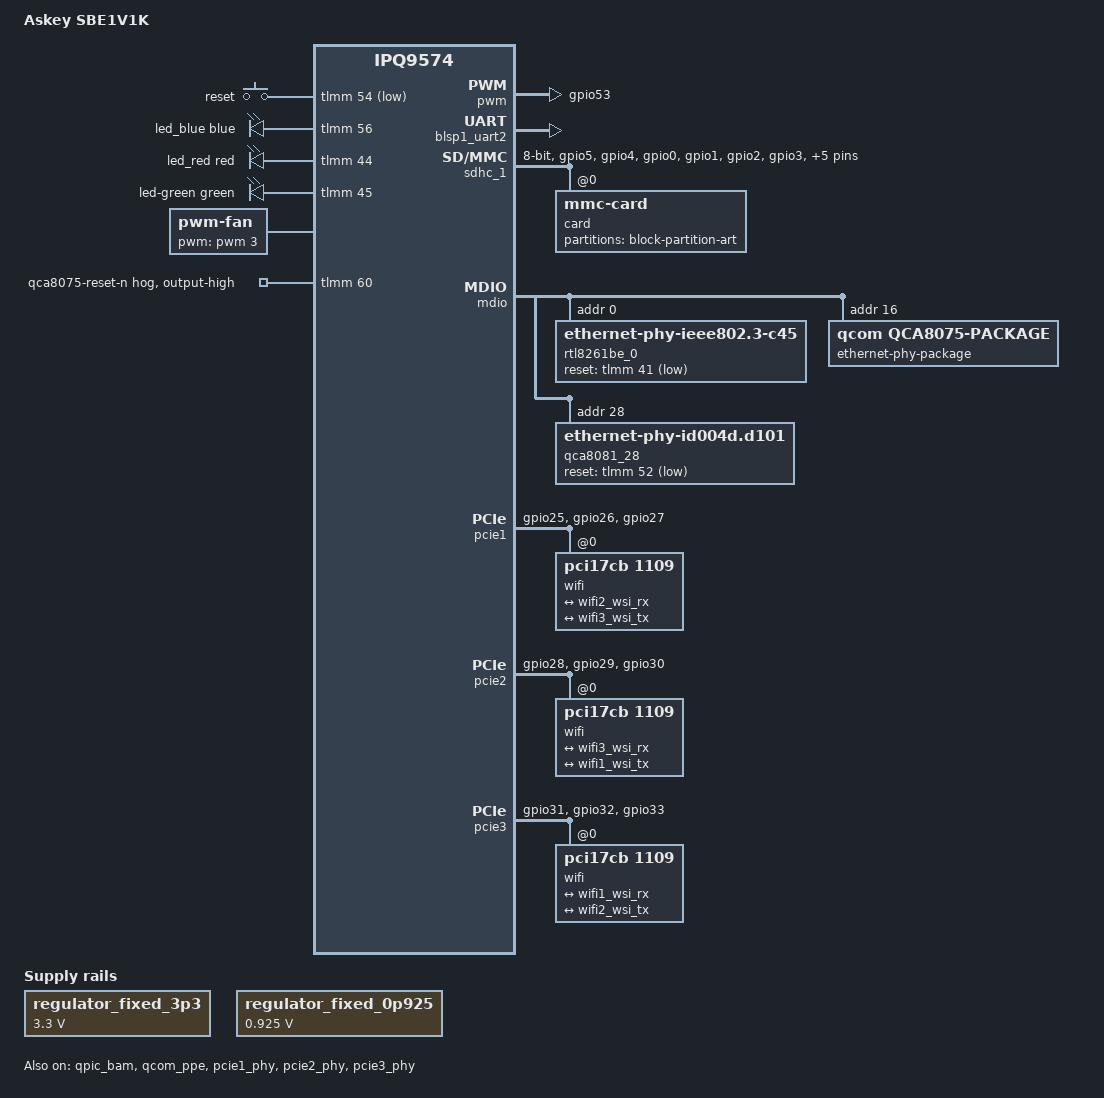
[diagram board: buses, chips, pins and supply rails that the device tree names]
// SPDX-License-Identifier: (GPL-2.0+ OR BSD-3-Clause)

/dts-v1/;

#include "ipq9574.dtsi"

#include <dt-bindings/gpio/gpio.h>
#include <dt-bindings/input/input.h>
#include <dt-bindings/leds/common.h>

/ {
	model = "Askey SBE1V1K";
	compatible = "askey,sbe1v1k", "qcom,ipq9574";

	aliases {
		led-boot = &led_blue;
		led-failsafe = &led_red;
		led-running = &led_blue;
		led-upgrade = &led_blue;

		serial0 = &blsp1_uart2;
	};

	chosen {
		stdout-path = "serial0:115200n8";
	};

	reserved-memory {
		tzapp:tzapp@49B00000 {
			no-map;
			reg = <0x0 0x49B00000 0x0 0x00600000>;
		};
	};

	regulator_fixed_3p3: s3300 {
		compatible = "regulator-fixed";
		regulator-min-microvolt = <3300000>;
		regulator-max-microvolt = <3300000>;
		regulator-boot-on;
		regulator-always-on;
		regulator-name = "fixed_3p3";
	};

	regulator_fixed_0p925: s0925 {
		compatible = "regulator-fixed";
		regulator-min-microvolt = <925000>;
		regulator-max-microvolt = <925000>;
		regulator-boot-on;
		regulator-always-on;
		regulator-name = "fixed_0p925";
	};

	gpio-keys {
		compatible = "gpio-keys";
		pinctrl-0 = <&gpio_keys_default>;
		pinctrl-names = "default";

		reset {
			label = "reset";
			linux,code = <KEY_RESTART>;
			gpios = <&tlmm 54 GPIO_ACTIVE_LOW>;
			debounce-interval = <60>;
		};
	};

	leds {
		compatible = "gpio-leds";

		led_blue: led-blue {
			color = <LED_COLOR_ID_BLUE>;
			function = LED_FUNCTION_STATUS;
			gpios = <&tlmm 56 GPIO_ACTIVE_HIGH>;
		};

		led_red: led-red {
			color = <LED_COLOR_ID_RED>;
			function = LED_FUNCTION_STATUS;
			gpios = <&tlmm 44 GPIO_ACTIVE_HIGH>;
		};

		led-green {
			color = <LED_COLOR_ID_GREEN>;
			function = LED_FUNCTION_STATUS;
			gpios = <&tlmm 45 GPIO_ACTIVE_HIGH>;
		};
	};

	fan: pwm-fan {
		compatible = "pwm-fan";
		pwms = <&pwm 3 40000 0>;
		#cooling-cells = <2>;
		cooling-levels = <36 72 128 255>;
	};

	thermal-zones {
		top-glue-thermal {
			thermal-sensors = <&tsens 15>;

			trips {
				cpu_trip_crit: crit {
					temperature = <110000>;
					hysteresis = <1000>;
					type = "critical";
				};

				cpu_trip_hot: hot {
					temperature = <100000>;
					hysteresis = <1000>;
					type = "hot";
				};

				cpu_trip_active_high: active-high {
					temperature = <80000>;
					hysteresis = <1000>;
					type = "active";
				};

				cpu_trip_active_med: active-med {
					temperature = <65000>;
					hysteresis = <1000>;
					type = "active";
				};

				cpu_trip_active_low: active-low {
					temperature = <50000>;
					hysteresis = <1000>;
					type = "active";
				};

				cpu_trip_active_silent: active-silent {
					temperature = <40000>;
					hysteresis = <1000>;
					type = "active";
				};
			};

			cooling-maps {
				cpu-active-high {
					cooling-device = <&fan 3 3>;
					trip = <&cpu_trip_active_high>;
				};

				cpu-active-med {
					cooling-device = <&fan 2 2>;
					trip = <&cpu_trip_active_med>;
				};

				cpu-active-low {
					cooling-device = <&fan 1 1>;
					trip = <&cpu_trip_active_low>;
				};

				cpu-active-silent {
					cooling-device = <&fan 0 0>;
					trip = <&cpu_trip_active_silent>;
				};
			};
		};
	};
};

&pwm {
	pinctrl-0 = <&pwm_pins>;
	pinctrl-names = "default";
	status = "okay";
};

&blsp1_uart2 {
	pinctrl-0 = <&uart2_pins>;
	pinctrl-names = "default";
	status = "okay";
};

&rpm_requests {
	regulators {
		compatible = "qcom,rpm-mp5496-regulators";

		ipq9574_s1: s1 {
		/*
		* During kernel bootup, the SoC runs at 800MHz with 875mV set by the bootloaders.
		* During regulator registration, kernel not knowing the initial voltage,
		* considers it as zero and brings up the regulators with minimum supported voltage.
		* Update the regulator-min-microvolt with SVS voltage of 725mV so that
		* the regulators are brought up with 725mV which is sufficient for all the
		* corner parts to operate at 800MHz
		*/
			regulator-min-microvolt = <725000>;
			regulator-max-microvolt = <1075000>;
		};

		mp5496_l5: l5 {
			regulator-min-microvolt = <1800000>;
			regulator-max-microvolt = <1800000>;
			regulator-always-on;
			regulator-boot-on;
		};
	};
};

&sdhc_1 {
	bus-width = <8>;
	max-frequency = <384000000>;
	mmc-ddr-1_8v;
	mmc-hs200-1_8v;
	mmc-hs400-1_8v;
	mmc-hs400-enhanced-strobe;
	pinctrl-0 = <&sdc_default_state>;
	pinctrl-names = "default";
	status = "okay";

	card@0 {
		compatible = "mmc-card";
		reg = <0>;

		block {
			compatible = "block-device";

			partitions {
				block-partition-art {
					partname = "0:ART";

					nvmem-layout {
						compatible = "fixed-layout";
						#address-cells = <1>;
						#size-cells = <1>;

						ethaddr: ethaddr@0 {
							compatible = "mac-base";
							reg = <0x0 0x6>;
							#nvmem-cell-cells = <1>;
						};
					};
				};
			};
		};
	};
};

&sleep_clk {
	clock-frequency = <32000>;
};

&tlmm {
	/*
	 * GPIO 60 is the shared hardware reset for the QCA8075 package, and the
	 * board holds it asserted (low) at power-on. reset-gpios is NOT honored
	 * on the package container node nor on the ethernet-phy@N nodes inside
	 * it (only standalone PHY nodes get MDIO reset handling), so drive it
	 * here as a gpio-hog. The hog is applied when the tlmm gpiochip
	 * registers (very early), releasing the package well before the MDIO
	 * bus is scanned; otherwise PHYs 18/19 read as "missing" and PPE port 3
	 * fails to connect (-ENODEV), wedging the whole ethernet driver.
	 */
	qca8075_reset_hog {
		gpio-hog;
		gpios = <60 GPIO_ACTIVE_HIGH>;
		output-high;
		line-name = "qca8075-reset-n";
	};

	gpio_keys_default: gpio-keys-default-state {
		pins = "gpio54";
		function = "gpio";
		drive-strength = <8>;
		bias-pull-up;
	};

	sdc_default_state: sdc-default-state {
		clk-pins {
			pins = "gpio5";
			function = "sdc_clk";
			drive-strength = <8>;
			bias-disable;
		};

		cmd-pins {
			pins = "gpio4";
			function = "sdc_cmd";
			drive-strength = <8>;
			bias-pull-up;
		};

		data-pins {
			pins = "gpio0", "gpio1", "gpio2",
				"gpio3", "gpio6", "gpio7",
				"gpio8", "gpio9";
			function = "sdc_data";
			drive-strength = <8>;
			bias-pull-up;
		};

		rclk-pins {
			pins = "gpio10";
			function = "sdc_rclk";
			drive-strength = <8>;
			bias-pull-down;
		};
	};

	pcie1_default: pcie1-default-state {
		clkreq-n-pins {
			pins = "gpio25";
			function = "pcie1_clk";
			drive-strength = <6>;
			bias-pull-up;
		};

		perst-n-pins {
			pins = "gpio26";
			function = "gpio";
			drive-strength = <8>;
			bias-pull-down;
			output-low;
		};

		wake-n-pins {
			pins = "gpio27";
			function = "pcie1_wake";
			drive-strength = <6>;
			bias-pull-up;
		};
	};

	pcie2_default: pcie2-default-state {
		clkreq-n-pins {
			pins = "gpio28";
			function = "pcie2_clk";
			drive-strength = <6>;
			bias-pull-up;
		};

		perst-n-pins {
			pins = "gpio29";
			function = "gpio";
			drive-strength = <8>;
			bias-pull-down;
			output-low;
		};

		wake-n-pins {
			pins = "gpio30";
			function = "pcie2_wake";
			drive-strength = <6>;
			bias-pull-up;
		};
	};

	pcie3_default: pcie3-default-state {
		clkreq-n-pins {
			pins = "gpio31";
			function = "pcie3_clk";
			drive-strength = <6>;
			bias-pull-up;
		};

		perst-n-pins {
			pins = "gpio32";
			function = "gpio";
			drive-strength = <8>;
			bias-pull-down;
			output-low;
		};

		wake-n-pins {
			pins = "gpio33";
			function = "pcie3_wake";
			drive-strength = <6>;
			bias-pull-up;
		};
	};

	pwm_pins: pwm-pins {
		pwm {
			pins = "gpio53";
			function = "pwm";
			drive-strength = <8>;
		};
	};
};

&qpic_bam {
	status = "okay";
};

&qcom_ppe {
	status = "okay";

	ethernet-ports {
		#address-cells = <1>;
		#size-cells = <0>;

		port@3 {
			reg = <3>;
			phy-mode = "qsgmii";
			phy-handle = <&qca8075_18>;
			pcs-handle = <&pcs0_ch2>;
			managed = "in-band-status";
			label = "lan2";

			nvmem-cells = <&ethaddr 1>;
			nvmem-cell-names = "mac-address";

			clocks = <&nsscc NSS_CC_PORT3_MAC_CLK>,
				 <&nsscc NSS_CC_PORT3_RX_CLK>,
				 <&nsscc NSS_CC_PORT3_TX_CLK>;
			clock-names = "mac", "rx", "tx";

			resets = <&nsscc PORT3_MAC_ARES>,
				 <&nsscc PORT3_RX_ARES>,
				 <&nsscc PORT3_TX_ARES>;
			reset-names = "mac", "rx", "tx";
		};

		port@4 {
			reg = <4>;
			phy-mode = "qsgmii";
			phy-handle = <&qca8075_19>;
			pcs-handle = <&pcs0_ch3>;
			managed = "in-band-status";
			label = "lan3";

			nvmem-cells = <&ethaddr 1>;
			nvmem-cell-names = "mac-address";

			clocks = <&nsscc NSS_CC_PORT4_MAC_CLK>,
				 <&nsscc NSS_CC_PORT4_RX_CLK>,
				 <&nsscc NSS_CC_PORT4_TX_CLK>;
			clock-names = "mac", "rx", "tx";

			resets = <&nsscc PORT4_MAC_ARES>,
				 <&nsscc PORT4_RX_ARES>,
				 <&nsscc PORT4_TX_ARES>;
			reset-names = "mac", "rx", "tx";
		};

		port@5 {
			reg = <5>;
			phy-mode = "usxgmii";
			phy-handle = <&qca8081_28>;
			pcs-handle = <&pcs1_ch0>;
			managed = "in-band-status";
			label = "lan1";

			nvmem-cells = <&ethaddr 1>;
			nvmem-cell-names = "mac-address";

			clocks = <&nsscc NSS_CC_PORT5_MAC_CLK>,
				 <&nsscc NSS_CC_PORT5_RX_CLK>,
				 <&nsscc NSS_CC_PORT5_TX_CLK>;
			clock-names = "mac", "rx", "tx";

			resets = <&nsscc PORT5_MAC_ARES>,
				 <&nsscc PORT5_RX_ARES>,
				 <&nsscc PORT5_TX_ARES>;
			reset-names = "mac", "rx", "tx";
		};

		port@6 {
			reg = <6>;
			phy-mode = "usxgmii";
			phy-handle = <&rtl8261be_0>;
			pcs-handle = <&pcs2_ch0>;
			managed = "in-band-status";
			label = "wan";

			nvmem-cells = <&ethaddr 0>;
			nvmem-cell-names = "mac-address";

			clocks = <&nsscc NSS_CC_PORT6_MAC_CLK>,
				 <&nsscc NSS_CC_PORT6_RX_CLK>,
				 <&nsscc NSS_CC_PORT6_TX_CLK>;
			clock-names = "mac", "rx", "tx";

			resets = <&nsscc PORT6_MAC_ARES>,
				 <&nsscc PORT6_RX_ARES>,
				 <&nsscc PORT6_TX_ARES>;
			reset-names = "mac", "rx", "tx";
		};
	};
};

&mdio {
	status = "okay";

	rtl8261be_0: ethernet-phy@5 {
		compatible = "ethernet-phy-ieee802.3-c45";
		reg = <0>;
		reset-gpios = <&tlmm 41 GPIO_ACTIVE_LOW>;
		reset-assert-us = <40000>;
		reset-deassert-us = <150000>;
	};

	ethernet-phy-package@16 {
		compatible = "qcom,qca8075-package";
		#address-cells = <1>;
		#size-cells = <0>;
		reg = <16>;

		qcom,package-mode = "qsgmii";

		qca8075_18: ethernet-phy@18 {
			compatible = "ethernet-phy-ieee802.3-c22";
			reg = <18>;
		};

		qca8075_19: ethernet-phy@19 {
			compatible = "ethernet-phy-ieee802.3-c22";
			reg = <19>;
		};
	};

	qca8081_28: ethernet-phy@28 {
		compatible = "ethernet-phy-id004d.d101";
		reg = <28>;
		reset-gpios = <&tlmm 52 GPIO_ACTIVE_LOW>;
		reset-deassert-us = <10000>;

		leds {
			#address-cells = <1>;
			#size-cells = <0>;

			led@0 {
				reg = <0>;
				color = <LED_COLOR_ID_YELLOW>;
				default-state = "keep";
				function = LED_FUNCTION_LAN;
				active-low;
			};

			led@2 {
				reg = <2>;
				color = <LED_COLOR_ID_GREEN>;
				default-state = "keep";
				function = LED_FUNCTION_LAN;
				active-low;
			};
		};
	};
};

&ref_48mhz_clk {
	clock-div = <1>;
	clock-mult = <1>;
};

&xo_board_clk {
	clock-div = <2>;
	clock-mult = <1>;
};

&xo_clk {
	clock-frequency = <48000000>;
};

&pcie1_phy {
	status = "okay";
};

&pcie1 {
	pinctrl-0 = <&pcie1_default>;
	pinctrl-names = "default";

	perst-gpios = <&tlmm 26 GPIO_ACTIVE_LOW>;
	wake-gpios = <&tlmm 27 GPIO_ACTIVE_LOW>;
	status = "okay";

	pcie@0 {
		device_type = "pci";
		reg = <0x0 0x0 0x0 0x0 0x0>;
		#address-cells = <3>;
		#size-cells = <2>;
		ranges;

		wifi@0 {
			compatible = "pci17cb,1109";
			reg = <0x0 0x0 0x0 0x0 0x0>;
			qcom,calibration-variant = "Askey-SBE1V1K_1";

			nvmem-cells = <&ethaddr (-3)>;
			nvmem-cell-names = "mac-address";

			ports {
				#address-cells = <1>;
				#size-cells = <0>;

				port@0 {
					reg = <0>;

					wifi1_wsi_tx: endpoint {
						remote-endpoint = <&wifi2_wsi_rx>;
					};
				};

				port@1 {
					reg = <1>;

					wifi1_wsi_rx: endpoint {
						remote-endpoint = <&wifi3_wsi_tx>;
					};
				};
			};
		};
	};
};

&pcie2_phy {
	status = "okay";
};

&pcie2 {
	pinctrl-0 = <&pcie2_default>;
	pinctrl-names = "default";

	perst-gpios = <&tlmm 29 GPIO_ACTIVE_LOW>;
	wake-gpios = <&tlmm 30 GPIO_ACTIVE_LOW>;
	status = "okay";

	pcie@0 {
		device_type = "pci";
		reg = <0x0 0x0 0x1 0x0 0x0>;
		#address-cells = <3>;
		#size-cells = <2>;
		ranges;

		wifi@0 {
			compatible = "pci17cb,1109";
			reg = <0x0 0x0 0x0 0x0 0x0>;
			qcom,calibration-variant = "Askey-SBE1V1K_4";
			qcom,wsi-controller;

			nvmem-cells = <&ethaddr (-1)>;
			nvmem-cell-names = "mac-address";

			ports {
				#address-cells = <1>;
				#size-cells = <0>;

				port@0 {
					reg = <0>;

					wifi2_wsi_tx: endpoint {
						remote-endpoint = <&wifi3_wsi_rx>;
					};
				};

				port@1 {
					reg = <1>;

					wifi2_wsi_rx: endpoint {
						remote-endpoint = <&wifi1_wsi_tx>;
					};
				};
			};
		};
	};
};

&pcie3_phy {
	status = "okay";
};

&pcie3 {
	pinctrl-0 = <&pcie3_default>;
	pinctrl-names = "default";

	perst-gpios = <&tlmm 32 GPIO_ACTIVE_LOW>;
	wake-gpios = <&tlmm 33 GPIO_ACTIVE_LOW>;
	status = "okay";

	pcie@0,0 {
		device_type = "pci";
		reg = <0x0 0x0 0x2 0x0 0x0>;
		#address-cells = <3>;
		#size-cells = <2>;
		ranges;

		wifi@0 {

			compatible = "pci17cb,1109";
			reg = <0x0 0x0 0x0 0x0 0x0>;
			qcom,calibration-variant = "Askey-SBE1V1K_2";

			nvmem-cells = <&ethaddr (-2)>;
			nvmem-cell-names = "mac-address";

			ports {
				#address-cells = <1>;
				#size-cells = <0>;

				port@0 {
					reg = <0>;

					wifi3_wsi_tx: endpoint {
						remote-endpoint = <&wifi1_wsi_rx>;
					};
				};

				port@1 {
					reg = <1>;

					wifi3_wsi_rx: endpoint {
						remote-endpoint = <&wifi2_wsi_tx>;
					};
				};
			};
		};
	};
};
